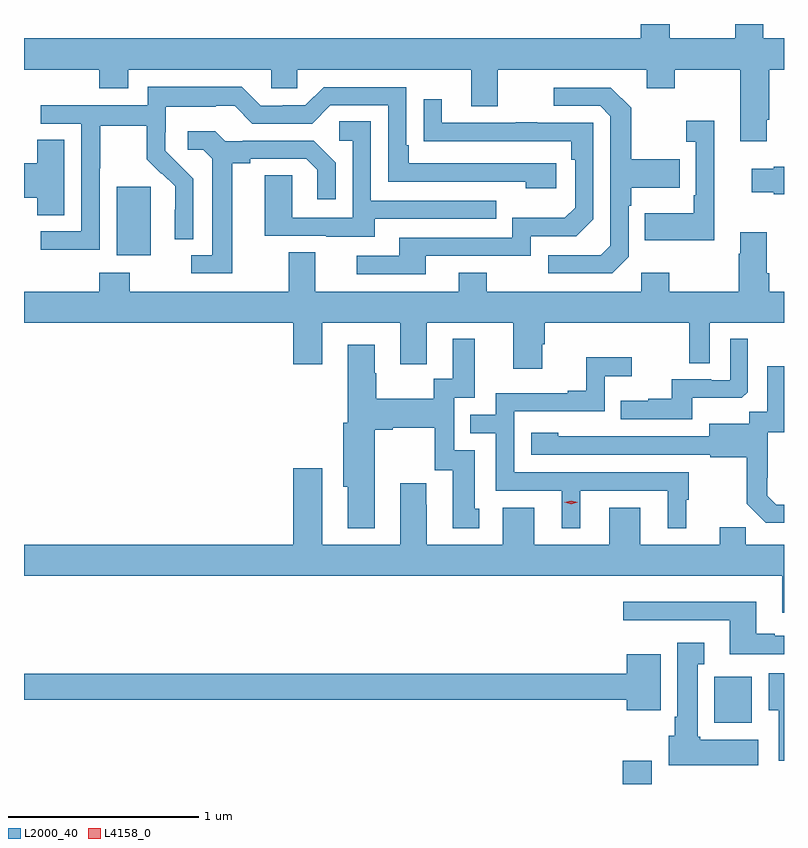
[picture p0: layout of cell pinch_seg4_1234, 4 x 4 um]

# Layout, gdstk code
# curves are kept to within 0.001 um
import gdstk
lib = gdstk.Library(unit=1e-6, precision=1e-09)
def R(c, l, rs):  # rectangles x0, y0, x1, y1
    for r in rs: c.add(gdstk.rectangle(r[:2], r[2:], *l))
def P(c, l, *ps):  # polygons
    for p in ps: c.add(gdstk.Polygon(p, *l))
L2000_40 = (2000, 40)
L4158_0 = (4158, 0)

pinch_seg4_1234 = lib.new_cell('pinch_seg4_1234')
R(pinch_seg4_1234, L2000_40, [(256.787,774.412,256.939,774.535), (257.27,774.734,257.467,774.976), (254.123,777.194,254.302,777.555)])
P(pinch_seg4_1234, L2000_40, [(253.636,778.172),(254.033,778.172),(254.033,778.073),(254.185,778.073),(254.185,778.172),(254.937,778.172),(254.937,778.074),(255.075,778.074),(255.075,778.172),(255.989,778.172),(255.989,777.978),(256.129,777.978),(256.129,778.172),(256.913,778.172),(256.913,778.073),(257.061,778.073),(257.061,778.172),(257.405,778.172),(257.405,777.795),(257.545,777.795),(257.545,777.907),(257.558,777.907),(257.558,778.172),(257.636,778.172),(257.636,778.336),(257.527,778.336),(257.527,778.412),(257.38,778.412),(257.38,778.336),(257.035,778.336),(257.035,778.412),(256.883,778.412),(256.883,778.336),(253.636,778.336)],
  [(254.034,777.652),(254.037,777.652),(254.037,777.876),(254.281,777.876),(254.281,777.701),(254.358,777.624),(254.361,777.627),(254.432,777.557),(254.432,777.434),(254.43,777.434),(254.43,777.28),(254.526,777.28),(254.526,777.598),(254.38,777.746),(254.38,777.843),(254.382,777.843),(254.382,777.977),(254.645,777.977),(254.645,777.981),(254.745,777.981),(254.838,777.888),(255.153,777.888),(255.249,777.984),(255.552,777.984),(255.552,777.582),(256.277,777.582),(256.277,777.548),(256.438,777.548),(256.438,777.678),(255.661,777.678),(255.661,777.775),(255.648,777.775),(255.648,778.08),(255.213,778.08),(255.117,777.984),(254.999,777.984),(254.999,777.981),(254.883,777.981),(254.783,778.081),(254.286,778.081),(254.286,777.984),(253.725,777.984),(253.725,777.888),(253.938,777.888),(253.938,777.321),(253.725,777.321),(253.725,777.223),(254.034,777.223)],
  [(256.818,777.186),(256.818,777.455),(256.831,777.455),(256.831,777.551),(257.087,777.551),(257.087,777.699),(256.831,777.699),(256.831,777.971),(256.725,778.077),(256.425,778.077),(256.425,777.981),(256.668,777.981),(256.722,777.927),(256.722,777.246),(256.671,777.195),(256.395,777.195),(256.395,777.099),(256.731,777.099)],
  [(255.751,777.192),(256.302,777.192),(256.302,777.294),(256.542,777.294),(256.632,777.384),(256.632,777.891),(256.337,777.891),(256.337,777.896),(256.225,777.896),(256.225,777.891),(255.835,777.891),(255.835,778.015),(255.739,778.015),(255.739,777.796),(256.516,777.795),(256.516,777.698),(256.536,777.698),(256.536,777.444),(256.483,777.391),(256.206,777.391),(256.206,777.288),(255.611,777.288),(255.611,777.192),(255.387,777.192),(255.387,777.096),(255.751,777.096)],
  [(257.27,777.904),(257.121,777.904),(257.121,777.791),(257.172,777.791),(257.172,777.511),(257.16,777.511),(257.16,777.415),(256.903,777.415),(256.903,777.275),(257.27,777.275)],
  [(255.481,777.387),(256.121,777.387),(256.121,777.483),(255.462,777.483),(255.462,777.899),(255.294,777.899),(255.294,777.798),(255.366,777.798),(255.366,777.393),(255.048,777.393),(255.048,777.617),(254.903,777.617),(254.903,777.297),(255.227,777.297),(255.227,777.293),(255.481,777.293)],
  [(254.731,777.68),(254.827,777.68),(254.827,777.702),(255.122,777.702),(255.179,777.645),(255.179,777.489),(255.276,777.489),(255.276,777.682),(255.16,777.798),(254.788,777.798),(254.788,777.795),(254.694,777.795),(254.642,777.847),(254.499,777.847),(254.499,777.75),(254.58,777.75),(254.627,777.703),(254.627,777.195),(254.517,777.195),(254.517,777.099),(254.731,777.099)],
  [(253.849,777.803),(253.706,777.803),(253.706,777.68),(253.636,777.68),(253.636,777.497),(253.706,777.497),(253.706,777.406),(253.849,777.406)],
  [(257.636,777.662),(257.582,777.662),(257.582,777.649),(257.466,777.649),(257.466,777.527),(257.582,777.527),(257.582,777.515),(257.636,777.515)],
  [(256.363,776.727),(256.376,776.727),(256.376,776.84),(257.136,776.84),(257.136,776.626),(257.244,776.626),(257.244,776.84),(257.636,776.84),(257.636,777.004),(257.558,777.004),(257.558,777.1),(257.545,777.1),(257.545,777.316),(257.405,777.316),(257.405,777.203),(257.398,777.203),(257.398,777.004),(257.031,777.004),(257.031,777.103),(256.884,777.103),(256.884,777.004),(256.071,777.004),(256.071,777.103),(255.923,777.103),(255.923,777.004),(255.169,777.004),(255.169,777.212),(255.029,777.212),(255.029,777.004),(254.193,777.004),(254.193,777.103),(254.033,777.103),(254.033,777.004),(253.636,777.004),(253.636,776.84),(255.053,776.84),(255.053,776.622),(255.205,776.622),(255.205,776.84),(255.617,776.84),(255.617,776.622),(255.757,776.622),(255.757,776.84),(256.211,776.84),(256.211,776.598),(256.363,776.598)],
  [(257.154,776.444),(257.413,776.444),(257.445,776.475),(257.445,776.755),(257.352,776.755),(257.352,776.538),(257.252,776.538),(257.252,776.541),(257.045,776.541),(257.045,776.44),(256.921,776.44),(256.921,776.428),(256.777,776.428),(256.777,776.331),(257.154,776.331)],
  [(255.481,776.276),(255.577,776.276),(255.577,776.288),(255.797,776.288),(255.797,776.064),(255.893,776.064),(255.893,775.758),(256.033,775.758),(256.033,775.86),(256.009,775.86),(256.009,776.169),(255.9,776.169),(255.9,776.445),(256.009,776.445),(256.009,776.755),(255.893,776.755),(255.893,776.546),(255.792,776.546),(255.792,776.44),(255.489,776.44),(255.489,776.574),(255.481,776.574),(255.481,776.725),(255.341,776.725),(255.341,776.313),(255.317,776.313),(255.317,775.977),(255.341,775.977),(255.341,775.757),(255.481,775.757)],
  [(256.564,775.956),(257.024,775.956),(257.024,775.757),(257.122,775.757),(257.122,775.908),(257.134,775.908),(257.134,776.052),(256.215,776.052),(256.215,776.373),(256.692,776.373),(256.692,776.558),(256.834,776.558),(256.834,776.657),(256.594,776.657),(256.594,776.482),(256.499,776.482),(256.499,776.469),(256.119,776.469),(256.119,776.355),(255.985,776.355),(255.985,776.259),(256.119,776.259),(256.119,775.956),(256.466,775.956),(256.466,775.757),(256.564,775.757)],
  [(257.636,775.881),(257.595,775.881),(257.548,775.928),(257.548,776.023),(257.55,776.023),(257.55,776.264),(257.636,776.264),(257.636,776.611),(257.549,776.611),(257.549,776.372),(257.454,776.372),(257.454,776.308),(257.243,776.308),(257.243,776.241),(256.449,776.242),(256.449,776.26),(256.305,776.26),(256.305,776.145),(257.247,776.145),(257.247,776.133),(257.439,776.133),(257.439,775.887),(257.539,775.787),(257.636,775.787)],
  [(257.636,775.672),(257.435,775.672),(257.435,775.763),(257.297,775.763),(257.297,775.672),(256.879,775.672),(256.879,775.867),(256.715,775.867),(256.715,775.672),(256.321,775.672),(256.321,775.867),(256.157,775.867),(256.157,775.672),(255.757,775.672),(255.757,775.883),(255.754,775.883),(255.754,775.996),(255.617,775.996),(255.617,775.672),(255.205,775.672),(255.205,776.074),(255.053,776.074),(255.053,775.672),(253.636,775.672),(253.636,775.508),(257.627,775.508),(257.627,775.314),(257.636,775.314)],
  [(257.636,775.191),(257.587,775.191),(257.587,775.204),(257.491,775.204),(257.491,775.372),(256.791,775.372),(256.791,775.275),(257.351,775.275),(257.351,775.095),(257.636,775.095)],
  [(257.5,774.646),(257.196,774.646),(257.196,774.66),(257.182,774.66),(257.182,775.043),(257.215,775.043),(257.215,775.156),(257.075,775.156),(257.075,774.766),(257.06,774.766),(257.06,774.666),(257.03,774.666),(257.03,774.512),(257.5,774.512)],
  [(256.987,775.096),(256.808,775.096),(256.808,774.992),(253.636,774.992),(253.636,774.856),(256.808,774.856),(256.808,774.8),(256.987,774.8)],
  [(257.636,774.994),(257.555,774.994),(257.555,774.8),(257.609,774.8),(257.609,774.534),(257.636,774.534)])
P(pinch_seg4_1234, L4158_0, [(256.515,775.884),(256.479,775.894),(256.479,775.894),(256.479,775.894),(256.515,775.904),(256.55,775.894),(256.551,775.894),(256.55,775.894)])

lib.write_gds('pinch_seg4_1234.gds')
